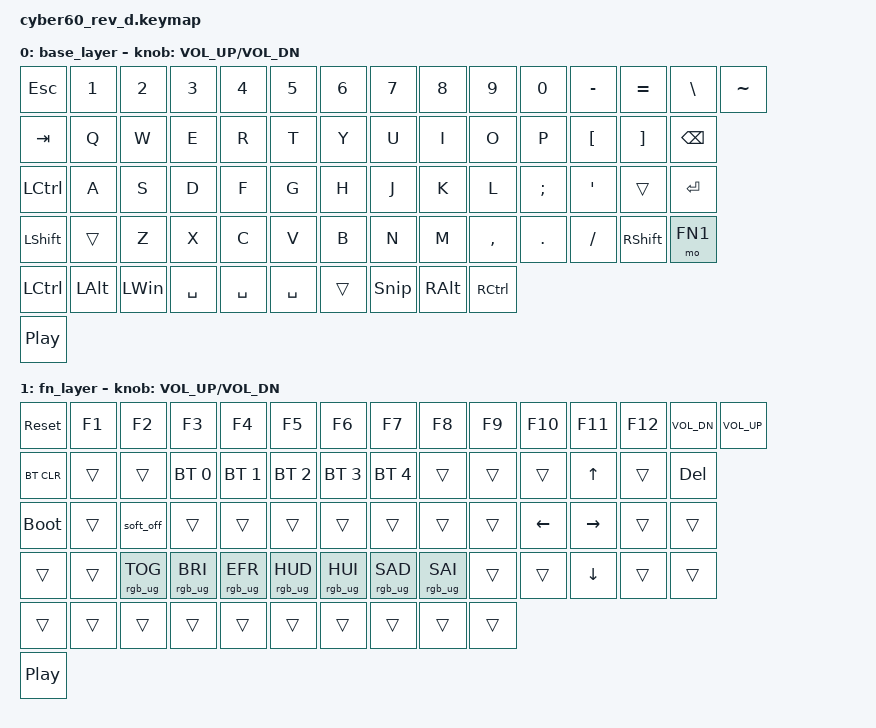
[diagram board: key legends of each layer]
#include <behaviors.dtsi>
#include <dt-bindings/zmk/bt.h>
#include <dt-bindings/zmk/keys.h>
#include <dt-bindings/zmk/rgb.h>

#define FN1 1

/ {
    macros {
        Snip: Snip {
            compatible = "zmk,behavior-macro";
            #binding-cells = <0>;
            bindings =
                <&macro_press>,
                <&kp LEFT_WIN>,
                <&macro_tap>,
                <&kp LS(S)>,
                <&macro_release>,
                <&kp LEFT_WIN>;

            label = "SNIP";
        };
    };

    keymap {
        compatible = "zmk,keymap";

        base_layer {
            // Base layer
            // ------------------------------------------------------------------------------------------
            // | ESC |  1  |  2  |  3  |  4  |  5  |  6  |  7  |  8  |  9  |  0  |  -  |  =  |   BKSP   |
            // |  TAB |  Q  |  W  |  E  |  R  |  T  |  Y  |  U  |  I  |  O  |  P  |  [  |  ]  |   "|"   |
            // | CAPS  |  A  |  S  |  D  |  F  |  G  |  H  |  J  |  K  |  L  |  ;  |  '  |NUHS| ENTER   |
            // | SHIFT |NUBS| Z |  X  |  C  |  V  |  B  |  N  |  M  |  ,  |  .  |  /  |    Shift   | FN |
            // |  LCTL  |  LWIN  |  LALT  | SPACE  | SPACE |    SPACE   |  RALT | FN  |   RWIN  | RCTRL |
            // | Rotary | (<-- Rotary switch) ----------------------------------------------------------- 

            bindings = <
&kp ESC    &kp N1        &kp N2        &kp N3     &kp N4     &kp N5     &kp N6  &kp N7  &kp N8         &kp N9     &kp N0    &kp MINUS  &kp EQUAL  &kp BSLH       &kp TILDE
&kp TAB    &kp Q         &kp W         &kp E      &kp R      &kp T      &kp Y   &kp U   &kp I          &kp O      &kp P     &kp LBKT   &kp RBKT   &kp BACKSPACE
&kp LCTRL  &kp A         &kp S         &kp D      &kp F      &kp G      &kp H   &kp J   &kp K          &kp L      &kp SEMI  &kp SQT    &trans     &kp RET
&kp LSHFT  &trans        &kp Z         &kp X      &kp C      &kp V      &kp B   &kp N   &kp M          &kp COMMA  &kp DOT   &kp FSLH   &kp RSHFT  &mo FN1
&kp LCTRL  &kp LEFT_ALT  &kp LEFT_WIN  &kp SPACE  &kp SPACE  &kp SPACE  &trans  &Snip   &kp RIGHT_ALT  &kp RCTRL
&kp C_PP
            >;

            sensor-bindings = <&inc_dec_kp C_VOL_UP C_VOL_DN>;
        };

        fn_layer {
            // Function layer
            // ------------------------------------------------------------------------------------------
            // | RESET | F1 |  F2 |  F3 |  F4 |  F5 |  F6 |  F7 |  F8 |  F9 | F10 | F11 | F12 |TRNS | DEL |
            // |BT_CLR |TRNS | UP  | BT0 | BT1 | BT2 | BT3 | BT4 | TRNS | TRNS | TRNS | TRNS | TRNS | TRNS|
            // | BOOTL  |LEFT |DOWN |RIGHT|TRNS |TRNS |TRNS | TRNS| TRNS |TRNS| TRNS |TRNS | TRNS | TRNS  |
            // | TRNS |TRNS|TRNS|TRNS|TRNS | TRNS| TRNS | TRNS |  TRNS| TRNS | TRNS| TRNS |   TRNS   |TRNS|
            // |  TRNS | TRNS | TRNS |      TRNS      | TRNS |     TRNS     |  TRNS |  TRNS | TRNS | TRNS |
            // | Rotary | (<-- Rotary switch) ----------------------------------------------------------- 

            bindings = <
&sys_reset   &kp F1  &kp F2           &kp F3           &kp F4           &kp F5           &kp F6           &kp F7           &kp F8           &kp F9  &kp F10         &kp F11          &kp F12  &kp C_VOL_DN  &kp C_VOLUME_UP
&bt BT_CLR   &trans  &trans           &bt BT_SEL 0     &bt BT_SEL 1     &bt BT_SEL 2     &bt BT_SEL 3     &bt BT_SEL 4     &trans           &trans  &trans          &kp UP_ARROW     &trans   &kp DEL
&bootloader  &trans  &soft_off        &trans           &trans           &trans           &trans           &trans           &trans           &trans  &kp LEFT_ARROW  &kp RIGHT_ARROW  &trans   &trans
&trans       &trans  &rgb_ug RGB_TOG  &rgb_ug RGB_BRI  &rgb_ug RGB_EFR  &rgb_ug RGB_HUD  &rgb_ug RGB_HUI  &rgb_ug RGB_SAD  &rgb_ug RGB_SAI  &trans  &trans          &kp DOWN         &trans   &trans
&trans       &trans  &trans           &trans           &trans           &trans           &trans           &trans           &trans           &trans
&kp C_PP
            >;

            sensor-bindings = <&inc_dec_kp C_VOL_UP C_VOL_DN>;
        };
    };
};
